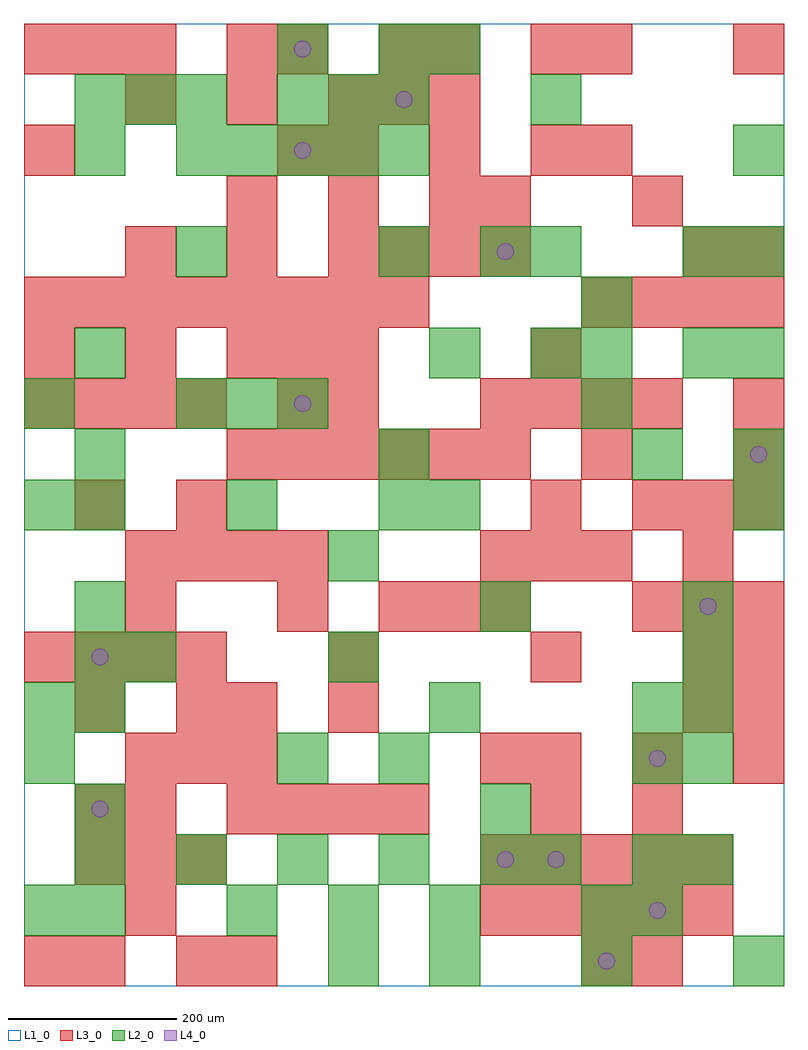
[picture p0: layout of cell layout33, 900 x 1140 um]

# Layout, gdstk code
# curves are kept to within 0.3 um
import gdstk
lib = gdstk.Library(unit=1e-6, precision=1e-09)
def R(c, l, rs):  # rectangles x0, y0, x1, y1
    for r in rs: c.add(gdstk.rectangle(r[:2], r[2:], *l))
def A(c, l, x, y, w, h, nx, ny, dx, dy):  # array of equal rectangles
    R(c, l, [(x+i*dx, y+j*dy, x+i*dx+w, y+j*dy+h) for i in range(nx) for j in range(ny)])
def P(c, l, *ps):  # polygons
    for p in ps: c.add(gdstk.Polygon(p, *l))
L1_0 = (1, 0)
L2_0 = (2, 0)
L3_0 = (3, 0)
L4_0 = (4, 0)

layout33 = lib.new_cell('layout33')
R(layout33, L1_0, [(0,0,900,1140)])
A(layout33, L2_0, 480, 0, 60, 60, 3, 1, 180, 0)
A(layout33, L2_0, 60, 60, 60, 60, 1, 3, 0, 120)
A(layout33, L2_0, 240, 60, 60, 60, 3, 1, 120, 0)
A(layout33, L2_0, 60, 120, 60, 60, 5, 1, 120, 0)
A(layout33, L2_0, 780, 240, 60, 60, 1, 4, 0, 60)
A(layout33, L2_0, 60, 540, 60, 60, 3, 1, 180, 0)
A(layout33, L2_0, 420, 600, 60, 60, 1, 3, 0, 240)
A(layout33, L2_0, 840, 600, 60, 60, 1, 4, 0, 120)
A(layout33, L2_0, 180, 660, 60, 60, 3, 1, 60, 0)
A(layout33, L2_0, 660, 660, 60, 60, 1, 3, 0, 60)
A(layout33, L2_0, 180, 960, 60, 60, 5, 1, 60, 0)
A(layout33, L2_0, 60, 1020, 60, 60, 3, 1, 60, 0)
A(layout33, L2_0, 300, 1020, 60, 60, 3, 1, 60, 0)
R(layout33, L2_0, [(360,0,420,60), (0,60,60,120), (660,60,720,120), (720,60,780,120), (600,120,660,180), (720,120,780,180), (780,120,840,180), (540,180,600,240), (0,240,60,300), (300,240,360,300), (420,240,480,300), (720,240,780,300), (0,300,60,360), (480,300,540,360), (720,300,780,360), (60,360,120,420), (120,360,180,420), (360,360,420,420), (60,420,120,480), (540,420,600,480), (360,480,420,540), (0,540,60,600), (480,540,540,600), (840,540,900,600), (60,600,120,660), (720,600,780,660), (0,660,60,720), (60,720,120,780), (480,720,540,780), (600,720,660,780), (780,720,840,780), (180,840,240,900), (540,840,600,900), (600,840,660,900), (780,840,840,900), (60,960,120,1020), (600,1020,660,1080), (300,1080,360,1140), (480,1080,540,1140)])
A(layout33, L3_0, 540, 60, 60, 60, 5, 2, 60, 60)
A(layout33, L3_0, 60, 120, 60, 60, 3, 1, 60, 0)
A(layout33, L3_0, 240, 180, 60, 60, 4, 1, 60, 0)
A(layout33, L3_0, 600, 180, 60, 60, 1, 4, 0, 180)
A(layout33, L3_0, 120, 240, 60, 60, 3, 1, 60, 0)
A(layout33, L3_0, 600, 240, 60, 60, 3, 1, 120, 0)
A(layout33, L3_0, 0, 360, 60, 60, 4, 2, 60, 300)
A(layout33, L3_0, 420, 420, 60, 60, 3, 2, 60, 420)
A(layout33, L3_0, 720, 420, 60, 60, 3, 2, 60, 120)
A(layout33, L3_0, 120, 480, 60, 60, 4, 1, 60, 0)
A(layout33, L3_0, 540, 480, 60, 60, 3, 1, 60, 0)
A(layout33, L3_0, 240, 600, 60, 60, 6, 1, 60, 0)
A(layout33, L3_0, 540, 660, 60, 60, 4, 1, 60, 0)
A(layout33, L3_0, 0, 720, 60, 60, 3, 1, 120, 0)
A(layout33, L3_0, 0, 780, 60, 60, 8, 1, 60, 0)
A(layout33, L3_0, 660, 780, 60, 60, 4, 1, 60, 0)
A(layout33, L3_0, 120, 840, 60, 60, 3, 2, 120, 180)
A(layout33, L3_0, 240, 900, 60, 60, 3, 1, 120, 0)
A(layout33, L3_0, 360, 960, 60, 60, 3, 1, 120, 0)
A(layout33, L3_0, 0, 1080, 60, 60, 3, 1, 60, 0)
R(layout33, L3_0, [(0,0,60,60), (60,0,120,60), (180,0,240,60), (240,0,300,60), (660,0,720,60), (720,0,780,60), (120,60,180,120), (60,180,120,240), (120,180,180,240), (720,180,780,240), (540,240,600,300), (60,300,120,360), (180,300,240,360), (240,300,300,360), (360,300,420,360), (780,300,840,360), (840,300,900,360), (360,360,420,420), (780,360,840,420), (840,360,900,420), (120,420,180,480), (300,420,360,480), (780,480,840,540), (60,540,120,600), (180,540,240,600), (660,600,720,660), (840,600,900,660), (300,660,360,720), (360,660,420,720), (840,660,900,720), (300,720,360,780), (360,720,420,780), (780,840,840,900), (840,840,900,900), (540,900,600,960), (720,900,780,960), (0,960,60,1020), (300,960,360,1020), (660,960,720,1020), (420,1020,480,1080), (480,1020,540,1080), (240,1080,300,1140), (300,1080,360,1140), (420,1080,480,1140), (480,1080,540,1140), (600,1080,660,1140), (660,1080,720,1140), (840,1080,900,1140)])
P(layout33, L4_0, [(100,210),(99.239,213.827),(97.071,217.071),(93.827,219.239),(90,220),(86.173,219.239),(82.929,217.071),(80.761,213.827),(80,210),(80.761,206.173),(82.929,202.929),(86.173,200.761),(90,200),(93.827,200.761),(97.071,202.929),(99.239,206.173)],
  [(100,390),(99.239,393.827),(97.071,397.071),(93.827,399.239),(90,400),(86.173,399.239),(82.929,397.071),(80.761,393.827),(80,390),(80.761,386.173),(82.929,382.929),(86.173,380.761),(90,380),(93.827,380.761),(97.071,382.929),(99.239,386.173)],
  [(340,690),(339.239,693.827),(337.071,697.071),(333.827,699.239),(330,700),(326.173,699.239),(322.929,697.071),(320.761,693.827),(320,690),(320.761,686.173),(322.929,682.929),(326.173,680.761),(330,680),(333.827,680.761),(337.071,682.929),(339.239,686.173)],
  [(340,990),(339.239,993.827),(337.071,997.071),(333.827,999.239),(330,1000),(326.173,999.239),(322.929,997.071),(320.761,993.827),(320,990),(320.761,986.173),(322.929,982.929),(326.173,980.761),(330,980),(333.827,980.761),(337.071,982.929),(339.239,986.173)],
  [(340,1110),(339.239,1113.827),(337.071,1117.071),(333.827,1119.239),(330,1120),(326.173,1119.239),(322.929,1117.071),(320.761,1113.827),(320,1110),(320.761,1106.173),(322.929,1102.929),(326.173,1100.761),(330,1100),(333.827,1100.761),(337.071,1102.929),(339.239,1106.173)],
  [(460,1050),(459.239,1053.827),(457.071,1057.071),(453.827,1059.239),(450,1060),(446.173,1059.239),(442.929,1057.071),(440.761,1053.827),(440,1050),(440.761,1046.173),(442.929,1042.929),(446.173,1040.761),(450,1040),(453.827,1040.761),(457.071,1042.929),(459.239,1046.173)],
  [(580,150),(579.239,153.827),(577.071,157.071),(573.827,159.239),(570,160),(566.173,159.239),(562.929,157.071),(560.761,153.827),(560,150),(560.761,146.173),(562.929,142.929),(566.173,140.761),(570,140),(573.827,140.761),(577.071,142.929),(579.239,146.173)],
  [(580,870),(579.239,873.827),(577.071,877.071),(573.827,879.239),(570,880),(566.173,879.239),(562.929,877.071),(560.761,873.827),(560,870),(560.761,866.173),(562.929,862.929),(566.173,860.761),(570,860),(573.827,860.761),(577.071,862.929),(579.239,866.173)],
  [(640,150),(639.239,153.827),(637.071,157.071),(633.827,159.239),(630,160),(626.173,159.239),(622.929,157.071),(620.761,153.827),(620,150),(620.761,146.173),(622.929,142.929),(626.173,140.761),(630,140),(633.827,140.761),(637.071,142.929),(639.239,146.173)],
  [(700,30),(699.239,33.827),(697.071,37.071),(693.827,39.239),(690,40),(686.173,39.239),(682.929,37.071),(680.761,33.827),(680,30),(680.761,26.173),(682.929,22.929),(686.173,20.761),(690,20),(693.827,20.761),(697.071,22.929),(699.239,26.173)],
  [(760,90),(759.239,93.827),(757.071,97.071),(753.827,99.239),(750,100),(746.173,99.239),(742.929,97.071),(740.761,93.827),(740,90),(740.761,86.173),(742.929,82.929),(746.173,80.761),(750,80),(753.827,80.761),(757.071,82.929),(759.239,86.173)],
  [(760,270),(759.239,273.827),(757.071,277.071),(753.827,279.239),(750,280),(746.173,279.239),(742.929,277.071),(740.761,273.827),(740,270),(740.761,266.173),(742.929,262.929),(746.173,260.761),(750,260),(753.827,260.761),(757.071,262.929),(759.239,266.173)],
  [(820,450),(819.239,453.827),(817.071,457.071),(813.827,459.239),(810,460),(806.173,459.239),(802.929,457.071),(800.761,453.827),(800,450),(800.761,446.173),(802.929,442.929),(806.173,440.761),(810,440),(813.827,440.761),(817.071,442.929),(819.239,446.173)],
  [(880,630),(879.239,633.827),(877.071,637.071),(873.827,639.239),(870,640),(866.173,639.239),(862.929,637.071),(860.761,633.827),(860,630),(860.761,626.173),(862.929,622.929),(866.173,620.761),(870,620),(873.827,620.761),(877.071,622.929),(879.239,626.173)])

lib.write_gds('layout33.gds')
